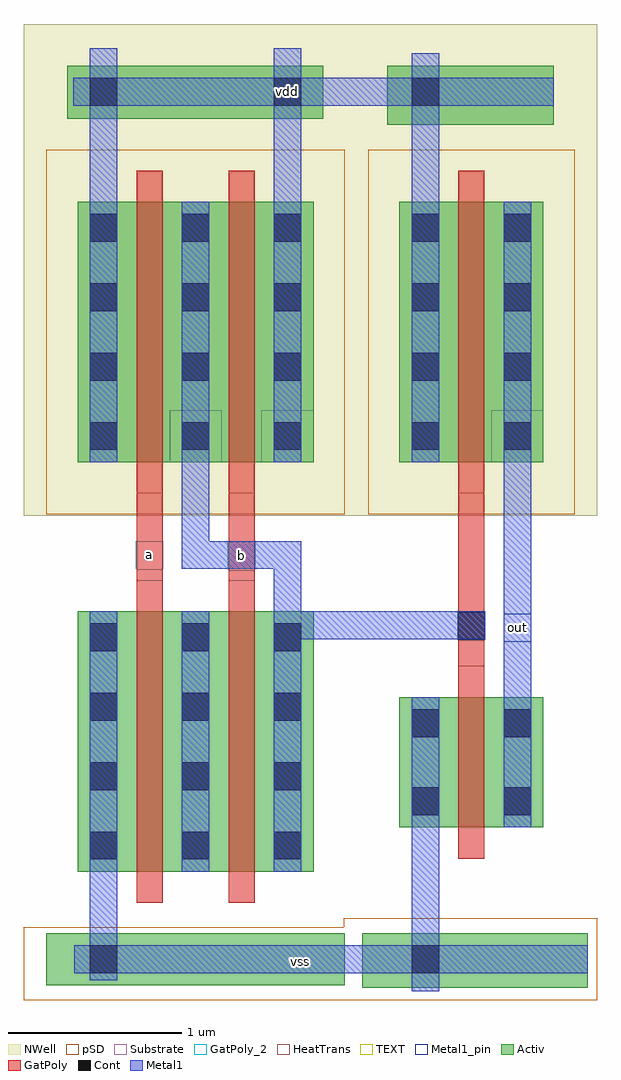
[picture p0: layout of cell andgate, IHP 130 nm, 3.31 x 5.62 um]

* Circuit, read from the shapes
.subckt andgate a b out vdd vss
XM1 n1 a vss vss sg13_lv_nmos w=1.5u l=0.15u
XM2 inverter_1/in b n1 vss sg13_lv_nmos w=1.5u l=0.15u
XM3 out inverter_1/in vss vss sg13_lv_nmos w=0.75u l=0.15u
XM4 inverter_1/in a vdd vdd sg13_lv_pmos w=1.5u l=0.15u
XM5 vdd b inverter_1/in vdd sg13_lv_pmos w=1.5u l=0.15u
XM6 out inverter_1/in vdd vdd sg13_lv_pmos w=1.5u l=0.15u
.ends

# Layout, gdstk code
import gdstk
lib = gdstk.Library(unit=1e-6, precision=5e-09)
def R(c, l, rs):  # rectangles x0, y0, x1, y1
    for r in rs: c.add(gdstk.rectangle(r[:2], r[2:], *l))
def A(c, l, x, y, w, h, nx, ny, dx, dy):  # array of equal rectangles
    R(c, l, [(x+i*dx, y+j*dy, x+i*dx+w, y+j*dy+h) for i in range(nx) for j in range(ny)])
def P(c, l, *ps):  # polygons
    for p in ps: c.add(gdstk.Polygon(p, *l))
Activ = (1, 0)
GatPoly = (5, 0)
GatPoly_2 = (5, 2)
Cont = (6, 0)
Metal1 = (8, 0)
Metal1_pin = (8, 2)
pSD = (14, 0)
NWell = (31, 0)
Substrate = (40, 0)
HeatTrans = (51, 0)
TEXT = (63, 0)

nmos_1 = lib.new_cell('nmos$1')
R(nmos_1, Activ, [(0,0,0.3,0.3), (0,0,0.83,1.5), (0.53,0,0.83,0.3)])
R(nmos_1, GatPoly, [(0.34,-0.18,0.49,1.68)])
R(nmos_1, GatPoly_2, [(0.34,-0.18,0.49,1.68)])
A(nmos_1, Cont, 0.07, 0.07, 0.16, 0.16, 1, 4, 0, 0.4)
A(nmos_1, Cont, 0.6, 0.07, 0.16, 0.16, 1, 4, 0, 0.4)
R(nmos_1, Metal1, [(0.07,0,0.23,1.5), (0.6,0,0.76,1.5)])
R(nmos_1, Metal1_pin, [(0.07,0,0.23,1.5), (0.6,0,0.76,1.5)])
R(nmos_1, HeatTrans, [(0.34,-0.18,0.49,1.68)])
nmos_1.add(gdstk.Label('nmos', (0.415,0.75), layer=63, texttype=0))
nmos_1.add(gdstk.Label('nmos', (0.415,0.75), layer=51, texttype=0))

pmos = lib.new_cell('pmos')
R(pmos, Activ, [(0,0,0.3,0.3), (0,0,0.83,1.5), (0.53,0,0.83,0.3)])
R(pmos, GatPoly, [(0.34,-0.18,0.49,1.68), (0.34,-0.18,0.49,1.68)])
A(pmos, Cont, 0.07, 0.07, 0.16, 0.16, 1, 4, 0, 0.4)
A(pmos, Cont, 0.6, 0.07, 0.16, 0.16, 1, 4, 0, 0.4)
R(pmos, Metal1, [(0.07,0,0.23,1.5), (0.07,0,0.23,1.5), (0.6,0,0.76,1.5), (0.6,0,0.76,1.5)])
R(pmos, pSD, [(-0.18,-0.3,1.01,1.8)])
R(pmos, NWell, [(-0.31,-0.31,1.14,1.81)])
R(pmos, Substrate, [(0.53,0,0.83,0.3)])
R(pmos, HeatTrans, [(0.34,-0.18,0.49,1.68)])
pmos.add(gdstk.Label('pmos', (0.415,0.75), layer=63, texttype=0))
pmos.add(gdstk.Label('pmos', (0.415,0.75), layer=51, texttype=0))

nand = lib.new_cell('nand')
R(nand, Activ, [(-2.805,-1.82,-1.085,-1.52), (-2.685,3.175,-1.21,3.48)])
R(nand, GatPoly, [(-2.285,-0.62,-2.135,1.06), (-1.755,-0.62,-1.605,1.07)])
R(nand, GatPoly_2, [(-1.755,0.57,-1.605,0.735), (-2.285,0.575,-2.135,0.74)])
R(nand, Cont, [(-2.555,-1.75,-2.395,-1.59), (-2.555,3.25,-2.395,3.41), (-1.495,3.25,-1.335,3.41)])
R(nand, Metal1, [(-2.555,-1.79,-2.395,-1.67), (-2.645,-1.75,-2.475,-1.59), (-1.575,-1.75,-1.255,-1.59), (-1.495,0.09,-1.335,0.555), (-2.555,2.465,-2.395,3.58), (-1.495,2.695,-1.335,3.58), (-2.65,3.25,-1.255,3.41)])
P(nand, Metal1, [(-2.025,1.195),(-2.025,1.195),(-1.865,1.195),(-1.865,1.195)])
R(nand, Metal1_pin, [(-1.495,-0.295,-1.335,-0.135), (-2.555,3.25,-2.395,3.41), (-1.495,3.25,-1.335,3.41)])
R(nand, pSD, [(-2.935,-1.905,-0.955,-1.485)])
R(nand, NWell, [(-2.935,3.005,-0.955,3.72)])
nand.add(gdstk.FlexPath([(-1.415,0.105),(-1.415,-0.025)], 0.16, ends="flush", simple_path=True, layer=8, datatype=0))  # Metal1
nand.add(gdstk.FlexPath([(-1.945,1.345),(-1.945,0.66),(-1.415,0.66),(-1.415,0.335),(-1.39,0.335)], 0.16, ends="flush", simple_path=True, layer=8, datatype=0))  # Metal1
nand.add(gdstk.FlexPath([(-2.475,-1.015),(-2.475,-1.67),(-1.335,-1.67),(-1.335,-1.685)], 0.16, ends="flush", simple_path=True, layer=8, datatype=0))  # Metal1
nand.add(gdstk.FlexPath([(-2.475,-1.67),(-2.555,-1.67),(-2.555,-1.67)], 0.16, ends="flush", simple_path=True, layer=63, datatype=0))  # TEXT
nand.add(gdstk.Reference(nmos_1, (-2.625,-1.165)))
nand.add(gdstk.Reference(nmos_1, (-2.095,-1.165)))
nand.add(gdstk.Reference(pmos, (-2.625,1.195)))
nand.add(gdstk.Reference(pmos, (-2.095,1.195)))
nand.add(gdstk.Label('vdd', (-2.49,3.325), layer=8, texttype=2))
nand.add(gdstk.Label('out', (-1.415,-0.22), layer=8, texttype=2))
nand.add(gdstk.Label('vss', (-2.485,-1.685), layer=8, texttype=2))
nand.add(gdstk.Label('b', (-1.705,0.655), layer=5, texttype=2))
nand.add(gdstk.Label('a', (-2.235,0.66), layer=5, texttype=2))

nmos = lib.new_cell('nmos')
R(nmos, Activ, [(0,0,0.3,0.3), (0,0,0.83,0.75), (0.53,0,0.83,0.3)])
R(nmos, GatPoly, [(0.34,-0.18,0.49,0.93)])
R(nmos, GatPoly_2, [(0.34,-0.18,0.49,0.93)])
R(nmos, Cont, [(0.07,0.07,0.23,0.23), (0.6,0.07,0.76,0.23), (0.07,0.52,0.23,0.68), (0.6,0.52,0.76,0.68)])
R(nmos, Metal1, [(0.07,0,0.23,0.75), (0.6,0,0.76,0.75)])
R(nmos, Metal1_pin, [(0.07,0,0.23,0.75), (0.6,0,0.76,0.75)])
R(nmos, HeatTrans, [(0.34,-0.18,0.49,0.93)])
nmos.add(gdstk.Label('nmos', (0.415,0.375), layer=63, texttype=0))
nmos.add(gdstk.Label('nmos', (0.415,0.375), layer=51, texttype=0))

pmos_1 = lib.new_cell('pmos$1')
R(pmos_1, Activ, [(0,0,0.3,0.3), (0,0,0.83,1.5), (0.53,0,0.83,0.3)])
R(pmos_1, GatPoly, [(0.34,-0.18,0.49,1.68), (0.34,-0.18,0.49,1.68)])
A(pmos_1, Cont, 0.07, 0.07, 0.16, 0.16, 1, 4, 0, 0.4)
A(pmos_1, Cont, 0.6, 0.07, 0.16, 0.16, 1, 4, 0, 0.4)
R(pmos_1, Metal1, [(0.07,0,0.23,1.5), (0.07,0,0.23,1.5), (0.6,0,0.76,1.5), (0.6,0,0.76,1.5)])
R(pmos_1, pSD, [(-0.18,-0.3,1.01,1.8)])
R(pmos_1, NWell, [(-0.31,-0.31,1.14,1.81)])
R(pmos_1, Substrate, [(0.53,0,0.83,0.3)])
R(pmos_1, HeatTrans, [(0.34,-0.18,0.49,1.68)])
pmos_1.add(gdstk.Label('pmos', (0.415,0.75), layer=63, texttype=0))
pmos_1.add(gdstk.Label('pmos', (0.415,0.75), layer=51, texttype=0))

inverter = lib.new_cell('inverter')
R(inverter, Activ, [(1.335,-1.99,2.635,-1.675), (1.48,2.985,2.44,3.325)])
R(inverter, GatPoly, [(1.89,-0.135,2.04,1.34)])
R(inverter, GatPoly_2, [(1.89,0.01,2.04,0.175)])
R(inverter, Cont, [(1.62,-1.905,1.78,-1.745), (1.62,2.31,1.78,2.47), (1.62,3.095,1.78,3.255)])
R(inverter, Metal1, [(1.62,-2.01,1.78,-1.065), (2.15,-0.315,2.31,1.27), (1.62,2.15,1.78,3.395)])
R(inverter, Metal1_pin, [(1.62,-1.905,1.78,-1.745), (2.15,0.005,2.31,0.165), (1.62,3.095,1.78,3.255)])
R(inverter, pSD, [(1.23,-2.06,2.69,-1.59)])
R(inverter, NWell, [(1.24,2.85,2.69,3.565)])
inverter.add(gdstk.Reference(nmos, (1.55,-1.065)))
inverter.add(gdstk.Reference(pmos_1, (1.55,1.04)))
inverter.add(gdstk.Label('vdd', (1.685,3.17), layer=8, texttype=2))
inverter.add(gdstk.Label('out', (2.23,0.085), layer=8, texttype=2))
inverter.add(gdstk.Label('vss', (1.69,-1.84), layer=8, texttype=2))
inverter.add(gdstk.Label('in', (1.94,0.095), layer=5, texttype=2))

andgate = lib.new_cell('andgate')
R(andgate, GatPoly_2, [(-1.76,0.575,-1.6,0.735), (-2.29,0.58,-2.13,0.74)])
R(andgate, Cont, [(-0.435,0.17,-0.275,0.33)])
R(andgate, Metal1, [(-1.415,-1.75,-1.255,-1.59), (0.155,-1.75,0.315,-1.59), (-1.495,3.25,-1.335,3.41)])
R(andgate, Metal1_pin, [(-0.17,0.16,-0.01,0.32)])
andgate.add(gdstk.FlexPath([(-0.275,0.255),(-1.42,0.255)], 0.16, ends="flush", simple_path=True, layer=8, datatype=0))  # Metal1
andgate.add(gdstk.FlexPath([(-1.415,3.33),(0.12,3.33),(0.12,3.33)], 0.16, ends="flush", simple_path=True, layer=8, datatype=0))  # Metal1
andgate.add(gdstk.FlexPath([(-1.575,-1.67),(0.235,-1.67),(0.235,-1.66)], 0.16, ends="flush", simple_path=True, layer=8, datatype=0))  # Metal1
andgate.add(gdstk.Reference(nand, (0,0)))
andgate.add(gdstk.Reference(inverter, (-2.32,0.155)))
andgate.add(gdstk.Label('vdd', (-1.415,3.33), layer=8, texttype=0))
andgate.add(gdstk.Label('vss', (-1.34,-1.685), layer=8, texttype=0))
andgate.add(gdstk.Label('out', (-0.09,0.24), layer=8, texttype=2))
andgate.add(gdstk.Label('a', (-2.21,0.66), layer=5, texttype=2))
andgate.add(gdstk.Label('b', (-1.68,0.655), layer=5, texttype=2))

lib.write_gds('andgate.gds')
